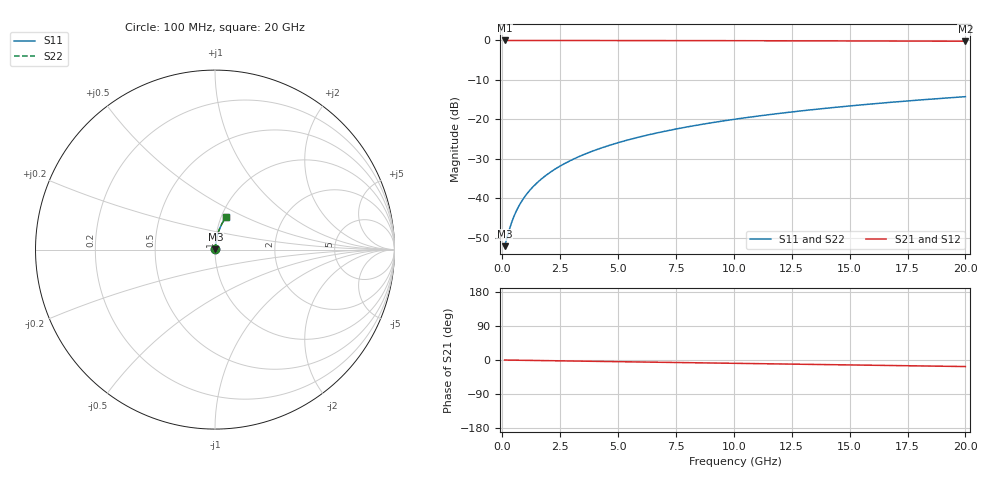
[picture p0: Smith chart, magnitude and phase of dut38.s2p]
! Touchstone file exported from HFSS 2026.1.0
!  File:  C:/ffzhzh/LocalFiles/Ansys_Project_Files/temp_train_BSMRDL_38_1782882343_46784.aedt
!  Generated:  01:07:00 PM Jul  1, 2026
!  Design:  BSMRDL
!  Project:  temp_train_BSMRDL_38_1782882343_46784
! Variables:
!  h_bsmrdl = 2.09um
!  h_ox = 20um
!  h_rdl = 5um
!  h_sub = 80um
!  h_tmrdl = 5um
!  h_tsv = 80um
!  h_via = 3um
!  l_bsmrdl = 199.27um
!  l_sub = 599.27um
!  l_tmrdl = 200um
!  m_sub = 200um
!  pitch = 44.29um
!  r_tsv = 6um
!  s_tmrdl = 10um
!  w_bsmrdl = 18.36um
!  w_sub = 500um
!  w_tmrdl = 12um
!  x_tsv_center1 = 206um
!  x_tsv_center2 = 423.63um
!  x_tsv_center3 = 635.63um
!  x_tsv_center4 = 853.26um
!  x_tsv_center5 = 1065.26um
!  x_tsv_center6 = 1282.89um
# GHz S MA R 50.000000
! Terminal data exported
! Port[1] = BSM_RDL1_1_T1
! Port[2] = BSM_RDL1_1_T2
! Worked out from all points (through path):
!   200 points, 100 MHz to 20 GHz, reference 50 ohm
!   highest |S21| = -0.02 dB at 100 MHz (marker M1); lowest = -0.2 dB at 20 GHz (marker M2)
!   group delay of S21, straight-line fit = 2.4 ps
!   lowest |S11| = -52.2 dB at 100 MHz (marker M3), VSWR 1.00, Z = 50.2 + j0.109 ohm
!   |S11| at or under -10 dB: start of sweep to end of sweep
!   |S22| runs from -52.2 to -14.3 dB; largest |S21 - S12| = 4.3e-15
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0.1  0.002464 26.1  0.9978 -0.1  0.9978 -0.1  0.002464 26.1
! Gamma 0 0 0 0
! Port Impedance 50 0 50 0
0.3  0.003964 54.6  0.9977 -0.3  0.9977 -0.3  0.003964 54.6
0.4  0.00489 61.2  0.9977 -0.4  0.9977 -0.4  0.00489 61.2
0.5  0.005849 65.5  0.9976 -0.5  0.9976 -0.5  0.005849 65.5
0.6  0.006821 68.5  0.9975 -0.5  0.9975 -0.5  0.006821 68.5
0.7  0.007798 70.8  0.9975 -0.6  0.9975 -0.6  0.007798 70.8
0.9  0.009756 73.9  0.9974 -0.8  0.9974 -0.8  0.009756 73.9
1.2  0.0127 76.8  0.9973 -1.1  0.9973 -1.1  0.0127 76.8
1.4  0.01466 78.1  0.9972 -1.3  0.9972 -1.3  0.01466 78.1
1.7  0.01762 79.4  0.9971 -1.5  0.9971 -1.5  0.01762 79.4
2.2  0.02258 80.8  0.9969 -2.0  0.9969 -2.0  0.02258 80.8
2.8  0.02854 81.7  0.9967 -2.5  0.9967 -2.5  0.02854 81.7
3.5  0.03552 82.1  0.9964 -3.1  0.9964 -3.1  0.03552 82.1
4.2  0.0425 82.2  0.9961 -3.7  0.9961 -3.7  0.0425 82.2
5  0.05047 82.0  0.9956 -4.4  0.9956 -4.4  0.05047 82.1
5.9  0.05942 81.7  0.995 -5.2  0.995 -5.2  0.05942 81.7
6.8  0.06833 81.2  0.9943 -6.0  0.9943 -6.0  0.06833 81.2
8.3  0.08312 80.3  0.993 -7.3  0.993 -7.3  0.08312 80.3
10.1  0.1007 79.0  0.9911 -8.9  0.9911 -8.9  0.1007 79.0
13.4  0.1324 76.4  0.9869 -11.7  0.9869 -11.7  0.1324 76.5
16.7  0.1634 73.7  0.9817 -14.5  0.9817 -14.5  0.1634 73.8
20  0.1934 71.1  0.9757 -17.3  0.9757 -17.3  0.1934 71.2
